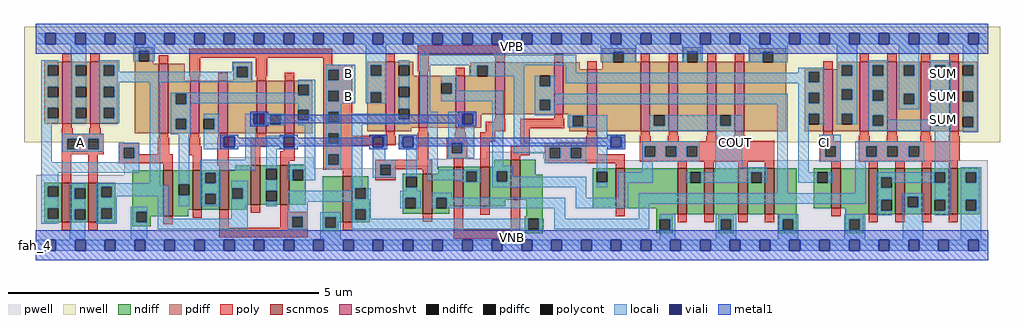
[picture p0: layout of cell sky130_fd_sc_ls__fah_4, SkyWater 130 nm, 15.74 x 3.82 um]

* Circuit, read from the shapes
.subckt sky130_fd_sc_ls__fah_4 A B CI VGND VNB VPB VPWR COUT SUM
XM1 VGND A n1 VNB sky130_fd_pr__nfet_01v8 w=0.64 l=0.15
XM2 n2 A VGND VNB sky130_fd_pr__nfet_01v8 w=0.64 l=0.15
XM3 n3 n1 VGND VNB sky130_fd_pr__nfet_01v8 w=0.74 l=0.15
XM4 n4 B n3 VNB sky130_fd_pr__nfet_01v8 w=0.64 l=0.15
XM5 n2 n5 n4 VNB sky130_fd_pr__nfet_01v8 w=0.64 l=0.15
XM6 n6 B n2 VNB sky130_fd_pr__nfet_01v8 w=0.64 l=0.15
XM7 n3 n5 n6 VNB sky130_fd_pr__nfet_01v8 w=0.64 l=0.15
XM8 n5 B VGND VNB sky130_fd_pr__nfet_01v8 w=0.74 l=0.15
XM9 n7 n6 n8 VNB sky130_fd_pr__nfet_01v8 w=0.64 l=0.15
XM10 n9 n4 n7 VNB sky130_fd_pr__nfet_01v8 w=0.64 l=0.15
XM11 n10 n6 n9 VNB sky130_fd_pr__nfet_01v8 w=0.64 l=0.15
XM12 n5 n4 n10 VNB sky130_fd_pr__nfet_01v8 w=0.64 l=0.15
XM13 VGND n9 n8 VNB sky130_fd_pr__nfet_01v8 w=0.64 l=0.15
XM14 COUT n10 VGND VNB sky130_fd_pr__nfet_01v8 w=0.74 l=0.15 m=4
XM15 VGND CI n9 VNB sky130_fd_pr__nfet_01v8 w=0.64 l=0.15
XM16 SUM n7 VGND VNB sky130_fd_pr__nfet_01v8 w=0.74 l=0.15 m=4
XM17 VPWR A n1 VPB sky130_fd_pr__pfet_01v8_hvt w=1 l=0.15
XM18 n2 A VPWR VPB sky130_fd_pr__pfet_01v8_hvt w=1 l=0.15
XM19 n3 n1 VPWR VPB sky130_fd_pr__pfet_01v8_hvt w=1.12 l=0.15
XM20 n6 B n3 VPB sky130_fd_pr__pfet_01v8_hvt w=0.84 l=0.15
XM21 n2 n5 n6 VPB sky130_fd_pr__pfet_01v8_hvt w=0.84 l=0.15
XM22 n4 B n2 VPB sky130_fd_pr__pfet_01v8_hvt w=0.84 l=0.15
XM23 n3 n5 n4 VPB sky130_fd_pr__pfet_01v8_hvt w=0.84 l=0.15
XM24 n5 B VPWR VPB sky130_fd_pr__pfet_01v8_hvt w=1.12 l=0.15
XM25 n10 n6 n5 VPB sky130_fd_pr__pfet_01v8_hvt w=0.84 l=0.15
XM26 n9 n4 n10 VPB sky130_fd_pr__pfet_01v8_hvt w=0.84 l=0.15
XM27 n7 n6 n9 VPB sky130_fd_pr__pfet_01v8_hvt w=0.84 l=0.15
XM28 n8 n4 n7 VPB sky130_fd_pr__pfet_01v8_hvt w=0.84 l=0.15
XM29 VPWR n9 n8 VPB sky130_fd_pr__pfet_01v8_hvt w=1 l=0.15
XM30 COUT n10 VPWR VPB sky130_fd_pr__pfet_01v8_hvt w=1.12 l=0.15 m=4
XM31 VPWR CI n9 VPB sky130_fd_pr__pfet_01v8_hvt w=1 l=0.15
XM32 SUM n7 VPWR VPB sky130_fd_pr__pfet_01v8_hvt w=1.12 l=0.15 m=4
.ends

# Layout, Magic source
magic
tech sky130A
magscale 1 2
<< nwell >>
rect -38 343 3110 704
rect -38 332 1411 343
rect 1680 332 3110 343
rect 283 326 1411 332
<< pwell >>
rect 618 268 897 284
rect 1453 279 1638 301
rect 285 248 897 268
rect 1272 275 1638 279
rect 1272 274 1881 275
rect 1272 256 3071 274
rect 1157 248 3071 256
rect 285 228 3071 248
rect 1 49 3071 228
rect 0 0 3072 49
<< scnmos >>
rect 84 74 114 202
rect 170 74 200 202
rect 411 94 441 242
rect 506 114 536 242
rect 592 114 622 242
rect 694 130 724 258
rect 788 130 818 258
rect 990 74 1020 222
rect 1248 102 1278 230
rect 1348 125 1378 253
rect 1434 125 1464 253
rect 1532 147 1562 275
rect 1870 120 1900 248
rect 2070 100 2100 248
rect 2156 100 2186 248
rect 2266 100 2296 248
rect 2352 100 2382 248
rect 2566 120 2596 248
rect 2686 100 2716 248
rect 2772 100 2802 248
rect 2858 100 2888 248
rect 2944 100 2974 248
<< scpmoshvt >>
rect 86 392 116 592
rect 176 392 206 592
rect 397 362 427 586
rect 498 362 528 530
rect 589 362 619 530
rect 713 362 743 530
rect 803 362 833 530
rect 1128 368 1158 592
rect 1235 379 1265 547
rect 1354 379 1384 547
rect 1482 423 1512 591
rect 1672 423 1702 591
rect 1779 368 1809 568
rect 1951 368 1981 592
rect 2041 368 2071 592
rect 2165 368 2195 592
rect 2255 368 2285 592
rect 2540 368 2570 568
rect 2657 368 2687 592
rect 2747 368 2777 592
rect 2855 368 2885 592
rect 2947 368 2977 592
<< ndiff >>
rect 644 242 694 258
rect 27 190 84 202
rect 27 156 39 190
rect 73 156 84 190
rect 27 120 84 156
rect 27 86 39 120
rect 73 86 84 120
rect 27 74 84 86
rect 114 184 170 202
rect 114 150 125 184
rect 159 150 170 184
rect 114 116 170 150
rect 114 82 125 116
rect 159 82 170 116
rect 114 74 170 82
rect 200 188 257 202
rect 200 154 211 188
rect 245 154 257 188
rect 200 120 257 154
rect 200 86 211 120
rect 245 86 257 120
rect 200 74 257 86
rect 311 108 411 242
rect 311 74 324 108
rect 358 94 411 108
rect 441 196 506 242
rect 441 162 461 196
rect 495 162 506 196
rect 441 114 506 162
rect 536 234 592 242
rect 536 200 547 234
rect 581 200 592 234
rect 536 166 592 200
rect 536 132 547 166
rect 581 132 592 166
rect 536 114 592 132
rect 622 184 694 242
rect 622 150 633 184
rect 667 150 694 184
rect 622 130 694 150
rect 724 246 788 258
rect 724 212 743 246
rect 777 212 788 246
rect 724 176 788 212
rect 724 142 743 176
rect 777 142 788 176
rect 724 130 788 142
rect 818 244 871 258
rect 818 210 829 244
rect 863 210 871 244
rect 1479 253 1532 275
rect 1298 230 1348 253
rect 818 130 871 210
rect 622 114 679 130
rect 441 94 491 114
rect 358 74 371 94
rect 311 62 371 74
rect 925 91 990 222
rect 925 57 933 91
rect 967 74 990 91
rect 1020 184 1073 222
rect 1183 221 1248 230
rect 1020 150 1031 184
rect 1065 150 1073 184
rect 1020 148 1073 150
rect 1183 187 1195 221
rect 1229 187 1248 221
rect 1183 153 1248 187
rect 1020 116 1077 148
rect 1020 82 1031 116
rect 1065 82 1077 116
rect 1183 119 1191 153
rect 1225 119 1248 153
rect 1183 102 1248 119
rect 1278 153 1348 230
rect 1278 119 1291 153
rect 1325 125 1348 153
rect 1378 239 1434 253
rect 1378 205 1389 239
rect 1423 205 1434 239
rect 1378 125 1434 205
rect 1464 239 1532 253
rect 1464 205 1487 239
rect 1521 205 1532 239
rect 1464 147 1532 205
rect 1562 228 1612 275
rect 1797 248 1855 249
rect 1797 237 1870 248
rect 1562 147 1635 228
rect 1464 125 1514 147
rect 1325 119 1333 125
rect 1278 102 1333 119
rect 1020 74 1077 82
rect 967 57 975 74
rect 925 45 975 57
rect 1582 93 1635 147
rect 1797 203 1809 237
rect 1843 203 1870 237
rect 1797 120 1870 203
rect 1900 120 2070 248
rect 2001 100 2070 120
rect 2100 236 2156 248
rect 2100 202 2111 236
rect 2145 202 2156 236
rect 2100 100 2156 202
rect 2186 100 2266 248
rect 2296 236 2352 248
rect 2296 202 2307 236
rect 2341 202 2352 236
rect 2296 100 2352 202
rect 2382 100 2455 248
rect 2509 236 2566 248
rect 2509 202 2521 236
rect 2555 202 2566 236
rect 2509 120 2566 202
rect 2596 120 2686 248
rect 1577 85 1635 93
rect 1577 51 1589 85
rect 1623 51 1635 85
rect 1577 39 1635 51
rect 2001 84 2055 100
rect 2001 50 2013 84
rect 2047 50 2055 84
rect 2201 84 2251 100
rect 2001 38 2055 50
rect 2201 50 2209 84
rect 2243 50 2251 84
rect 2397 84 2455 100
rect 2611 100 2686 120
rect 2716 220 2772 248
rect 2716 186 2727 220
rect 2761 186 2772 220
rect 2716 146 2772 186
rect 2716 112 2727 146
rect 2761 112 2772 146
rect 2716 100 2772 112
rect 2802 157 2858 248
rect 2802 123 2813 157
rect 2847 123 2858 157
rect 2802 100 2858 123
rect 2888 236 2944 248
rect 2888 202 2899 236
rect 2933 202 2944 236
rect 2888 146 2944 202
rect 2888 112 2899 146
rect 2933 112 2944 146
rect 2888 100 2944 112
rect 2974 236 3045 248
rect 2974 202 2999 236
rect 3033 202 3045 236
rect 2974 146 3045 202
rect 2974 112 2999 146
rect 3033 112 3045 146
rect 2974 100 3045 112
rect 2201 38 2251 50
rect 2397 50 2409 84
rect 2443 50 2455 84
rect 2397 38 2455 50
rect 2611 84 2671 100
rect 2611 50 2624 84
rect 2658 50 2671 84
rect 2611 38 2671 50
<< pdiff >>
rect 319 628 379 639
rect 319 594 332 628
rect 366 594 379 628
rect 27 580 86 592
rect 27 546 39 580
rect 73 546 86 580
rect 27 512 86 546
rect 27 478 39 512
rect 73 478 86 512
rect 27 444 86 478
rect 27 410 39 444
rect 73 410 86 444
rect 27 392 86 410
rect 116 580 176 592
rect 116 546 129 580
rect 163 546 176 580
rect 116 512 176 546
rect 116 478 129 512
rect 163 478 176 512
rect 116 444 176 478
rect 116 410 129 444
rect 163 410 176 444
rect 116 392 176 410
rect 206 580 265 592
rect 206 546 219 580
rect 253 546 265 580
rect 206 512 265 546
rect 206 478 219 512
rect 253 478 265 512
rect 206 444 265 478
rect 206 410 219 444
rect 253 410 265 444
rect 206 392 265 410
rect 319 586 379 594
rect 319 362 397 586
rect 427 530 480 586
rect 637 576 695 588
rect 637 542 649 576
rect 683 542 695 576
rect 1827 624 1933 636
rect 637 530 695 542
rect 427 488 498 530
rect 427 454 451 488
rect 485 454 498 488
rect 427 408 498 454
rect 427 374 451 408
rect 485 374 498 408
rect 427 362 498 374
rect 528 408 589 530
rect 528 374 541 408
rect 575 374 589 408
rect 528 362 589 374
rect 619 362 713 530
rect 743 422 803 530
rect 743 388 756 422
rect 790 388 803 422
rect 743 362 803 388
rect 833 518 892 530
rect 833 484 846 518
rect 880 484 892 518
rect 833 437 892 484
rect 833 403 846 437
rect 880 403 892 437
rect 833 362 892 403
rect 1069 580 1128 592
rect 1069 546 1081 580
rect 1115 546 1128 580
rect 1069 494 1128 546
rect 1069 460 1081 494
rect 1115 460 1128 494
rect 1069 368 1128 460
rect 1158 580 1217 592
rect 1158 546 1171 580
rect 1205 547 1217 580
rect 1402 579 1482 591
rect 1402 547 1424 579
rect 1205 546 1235 547
rect 1158 512 1235 546
rect 1158 478 1171 512
rect 1205 478 1235 512
rect 1158 440 1235 478
rect 1158 406 1171 440
rect 1205 406 1235 440
rect 1158 379 1235 406
rect 1265 522 1354 547
rect 1265 488 1307 522
rect 1341 488 1354 522
rect 1265 379 1354 488
rect 1384 545 1424 547
rect 1458 545 1482 579
rect 1384 423 1482 545
rect 1512 547 1672 591
rect 1512 513 1625 547
rect 1659 513 1672 547
rect 1512 469 1672 513
rect 1512 435 1625 469
rect 1659 435 1672 469
rect 1512 423 1672 435
rect 1702 568 1755 591
rect 1827 590 1863 624
rect 1897 592 1933 624
rect 2089 625 2147 639
rect 2089 592 2101 625
rect 1897 590 1951 592
rect 1827 568 1951 590
rect 1702 423 1779 568
rect 1384 379 1437 423
rect 1720 417 1779 423
rect 1158 368 1211 379
rect 1720 383 1732 417
rect 1766 383 1779 417
rect 1720 368 1779 383
rect 1809 368 1951 568
rect 1981 420 2041 592
rect 1981 386 1994 420
rect 2028 386 2041 420
rect 1981 368 2041 386
rect 2071 591 2101 592
rect 2135 592 2147 625
rect 2303 624 2421 636
rect 2303 592 2345 624
rect 2135 591 2165 592
rect 2071 368 2165 591
rect 2195 420 2255 592
rect 2195 386 2208 420
rect 2242 386 2255 420
rect 2195 368 2255 386
rect 2285 590 2345 592
rect 2379 590 2421 624
rect 2285 368 2421 590
rect 2588 580 2657 592
rect 2588 568 2600 580
rect 2481 560 2540 568
rect 2481 526 2493 560
rect 2527 526 2540 560
rect 2481 492 2540 526
rect 2481 458 2493 492
rect 2527 458 2540 492
rect 2481 424 2540 458
rect 2481 390 2493 424
rect 2527 390 2540 424
rect 2481 368 2540 390
rect 2570 546 2600 568
rect 2634 546 2657 580
rect 2570 503 2657 546
rect 2570 469 2600 503
rect 2634 469 2657 503
rect 2570 424 2657 469
rect 2570 390 2600 424
rect 2634 390 2657 424
rect 2570 368 2657 390
rect 2687 580 2747 592
rect 2687 546 2700 580
rect 2734 546 2747 580
rect 2687 500 2747 546
rect 2687 466 2700 500
rect 2734 466 2747 500
rect 2687 420 2747 466
rect 2687 386 2700 420
rect 2734 386 2747 420
rect 2687 368 2747 386
rect 2777 580 2855 592
rect 2777 546 2800 580
rect 2834 546 2855 580
rect 2777 488 2855 546
rect 2777 454 2800 488
rect 2834 454 2855 488
rect 2777 368 2855 454
rect 2885 580 2947 592
rect 2885 546 2900 580
rect 2934 546 2947 580
rect 2885 500 2947 546
rect 2885 466 2900 500
rect 2934 466 2947 500
rect 2885 420 2947 466
rect 2885 386 2900 420
rect 2934 386 2947 420
rect 2885 368 2947 386
rect 2977 580 3036 592
rect 2977 546 2990 580
rect 3024 546 3036 580
rect 2977 497 3036 546
rect 2977 463 2990 497
rect 3024 463 3036 497
rect 2977 414 3036 463
rect 2977 380 2990 414
rect 3024 380 3036 414
rect 2977 368 3036 380
<< ndiffc >>
rect 39 156 73 190
rect 39 86 73 120
rect 125 150 159 184
rect 125 82 159 116
rect 211 154 245 188
rect 211 86 245 120
rect 324 74 358 108
rect 461 162 495 196
rect 547 200 581 234
rect 547 132 581 166
rect 633 150 667 184
rect 743 212 777 246
rect 743 142 777 176
rect 829 210 863 244
rect 933 57 967 91
rect 1031 150 1065 184
rect 1195 187 1229 221
rect 1031 82 1065 116
rect 1191 119 1225 153
rect 1291 119 1325 153
rect 1389 205 1423 239
rect 1487 205 1521 239
rect 1809 203 1843 237
rect 2111 202 2145 236
rect 2307 202 2341 236
rect 2521 202 2555 236
rect 1589 51 1623 85
rect 2013 50 2047 84
rect 2209 50 2243 84
rect 2727 186 2761 220
rect 2727 112 2761 146
rect 2813 123 2847 157
rect 2899 202 2933 236
rect 2899 112 2933 146
rect 2999 202 3033 236
rect 2999 112 3033 146
rect 2409 50 2443 84
rect 2624 50 2658 84
<< pdiffc >>
rect 332 594 366 628
rect 39 546 73 580
rect 39 478 73 512
rect 39 410 73 444
rect 129 546 163 580
rect 129 478 163 512
rect 129 410 163 444
rect 219 546 253 580
rect 219 478 253 512
rect 219 410 253 444
rect 649 542 683 576
rect 451 454 485 488
rect 451 374 485 408
rect 541 374 575 408
rect 756 388 790 422
rect 846 484 880 518
rect 846 403 880 437
rect 1081 546 1115 580
rect 1081 460 1115 494
rect 1171 546 1205 580
rect 1171 478 1205 512
rect 1171 406 1205 440
rect 1307 488 1341 522
rect 1424 545 1458 579
rect 1625 513 1659 547
rect 1625 435 1659 469
rect 1863 590 1897 624
rect 1732 383 1766 417
rect 1994 386 2028 420
rect 2101 591 2135 625
rect 2208 386 2242 420
rect 2345 590 2379 624
rect 2493 526 2527 560
rect 2493 458 2527 492
rect 2493 390 2527 424
rect 2600 546 2634 580
rect 2600 469 2634 503
rect 2600 390 2634 424
rect 2700 546 2734 580
rect 2700 466 2734 500
rect 2700 386 2734 420
rect 2800 546 2834 580
rect 2800 454 2834 488
rect 2900 546 2934 580
rect 2900 466 2934 500
rect 2900 386 2934 420
rect 2990 546 3024 580
rect 2990 463 3024 497
rect 2990 380 3024 414
<< poly >>
rect 86 592 116 618
rect 176 592 206 618
rect 397 586 427 612
rect 495 604 957 634
rect 86 377 116 392
rect 176 377 206 392
rect 83 360 119 377
rect 173 360 209 377
rect 495 545 531 604
rect 498 530 528 545
rect 589 530 619 556
rect 710 545 746 604
rect 927 582 957 604
rect 1128 592 1158 618
rect 1232 615 1515 645
rect 927 566 1020 582
rect 713 530 743 545
rect 803 530 833 556
rect 927 532 943 566
rect 977 532 1020 566
rect 927 498 1020 532
rect 927 464 943 498
rect 977 464 1020 498
rect 927 430 1020 464
rect 927 396 943 430
rect 977 396 1020 430
rect 927 362 1020 396
rect 1232 562 1268 615
rect 1479 606 1515 615
rect 1482 591 1512 606
rect 1672 591 1702 617
rect 1235 547 1265 562
rect 1354 547 1384 573
rect 1779 568 1809 594
rect 1951 592 1981 618
rect 2041 592 2071 618
rect 1482 408 1512 423
rect 1672 408 1702 423
rect 1479 398 1515 408
rect 83 344 219 360
rect 397 347 427 362
rect 498 347 528 362
rect 589 347 619 362
rect 713 347 743 362
rect 803 347 833 362
rect 83 324 101 344
rect 84 310 101 324
rect 135 310 169 344
rect 203 310 219 344
rect 84 294 219 310
rect 267 314 333 330
rect 84 202 114 294
rect 170 202 200 294
rect 267 280 283 314
rect 317 294 333 314
rect 394 294 430 347
rect 495 320 531 347
rect 317 280 441 294
rect 495 290 536 320
rect 267 264 441 280
rect 411 242 441 264
rect 506 242 536 290
rect 586 257 622 347
rect 694 317 746 347
rect 694 258 724 317
rect 800 303 836 347
rect 788 273 836 303
rect 927 328 943 362
rect 977 353 1020 362
rect 1128 353 1158 368
rect 1235 364 1265 379
rect 1354 364 1384 379
rect 1452 368 1515 398
rect 1563 378 1705 408
rect 1452 364 1482 368
rect 977 328 1161 353
rect 927 323 1161 328
rect 927 294 1020 323
rect 788 258 818 273
rect 927 260 943 294
rect 977 260 1020 294
rect 1232 275 1268 364
rect 1351 347 1387 364
rect 1326 331 1392 347
rect 1326 297 1342 331
rect 1376 297 1392 331
rect 1326 281 1392 297
rect 1434 334 1482 364
rect 592 242 622 257
rect 927 244 1020 260
rect 990 222 1020 244
rect 1095 259 1278 275
rect 1095 225 1111 259
rect 1145 245 1278 259
rect 1348 253 1378 281
rect 1434 253 1464 334
rect 1563 320 1593 378
rect 2165 592 2195 618
rect 2255 592 2285 618
rect 2540 568 2570 594
rect 2657 592 2687 618
rect 2747 592 2777 618
rect 2855 592 2885 618
rect 2947 592 2977 618
rect 1779 353 1809 368
rect 1951 353 1981 368
rect 2041 353 2071 368
rect 2165 353 2195 368
rect 2255 353 2285 368
rect 2540 353 2570 368
rect 2657 353 2687 368
rect 2747 353 2777 368
rect 2855 353 2885 368
rect 2947 353 2977 368
rect 1776 330 1812 353
rect 1532 290 1593 320
rect 1641 314 1812 330
rect 1532 275 1562 290
rect 1641 280 1657 314
rect 1691 280 1725 314
rect 1759 294 1812 314
rect 1948 336 1984 353
rect 2038 336 2074 353
rect 2162 336 2198 353
rect 2252 337 2288 353
rect 2252 336 2382 337
rect 2537 336 2573 353
rect 2654 336 2690 353
rect 2744 336 2780 353
rect 2852 336 2888 353
rect 2944 336 2980 353
rect 1948 320 2382 336
rect 1759 280 1900 294
rect 1145 225 1161 245
rect 1248 230 1278 245
rect 84 48 114 74
rect 170 48 200 74
rect 411 68 441 94
rect 506 88 536 114
rect 592 56 622 114
rect 694 104 724 130
rect 788 108 818 130
rect 788 92 877 108
rect 788 58 827 92
rect 861 58 877 92
rect 788 56 877 58
rect 592 26 877 56
rect 1095 209 1161 225
rect 1641 264 1900 280
rect 1948 286 1964 320
rect 1998 286 2032 320
rect 2066 286 2100 320
rect 2134 286 2382 320
rect 1948 270 2382 286
rect 2530 320 2596 336
rect 2530 286 2546 320
rect 2580 286 2596 320
rect 2530 270 2596 286
rect 2654 320 2980 336
rect 2654 286 2679 320
rect 2713 286 2747 320
rect 2781 286 2815 320
rect 2849 286 2980 320
rect 2654 274 2980 286
rect 2654 270 2974 274
rect 1870 248 1900 264
rect 2070 248 2100 270
rect 2156 248 2186 270
rect 2266 248 2296 270
rect 2352 248 2382 270
rect 2566 248 2596 270
rect 2686 248 2716 270
rect 2772 248 2802 270
rect 2858 248 2888 270
rect 2944 248 2974 270
rect 1248 76 1278 102
rect 990 48 1020 74
rect 1348 51 1378 125
rect 1434 99 1464 125
rect 1532 51 1562 147
rect 1870 94 1900 120
rect 1348 21 1562 51
rect 2070 74 2100 100
rect 2156 74 2186 100
rect 2266 74 2296 100
rect 2352 74 2382 100
rect 2566 94 2596 120
rect 2686 74 2716 100
rect 2772 74 2802 100
rect 2858 74 2888 100
rect 2944 74 2974 100
<< polycont >>
rect 943 532 977 566
rect 943 464 977 498
rect 943 396 977 430
rect 101 310 135 344
rect 169 310 203 344
rect 283 280 317 314
rect 943 328 977 362
rect 943 260 977 294
rect 1342 297 1376 331
rect 1111 225 1145 259
rect 1657 280 1691 314
rect 1725 280 1759 314
rect 827 58 861 92
rect 1964 286 1998 320
rect 2032 286 2066 320
rect 2100 286 2134 320
rect 2546 286 2580 320
rect 2679 286 2713 320
rect 2747 286 2781 320
rect 2815 286 2849 320
<< locali >>
rect 0 649 31 683
rect 65 649 127 683
rect 161 649 223 683
rect 257 649 319 683
rect 353 649 415 683
rect 449 649 511 683
rect 545 649 607 683
rect 641 649 703 683
rect 737 649 799 683
rect 833 649 895 683
rect 929 649 991 683
rect 1025 649 1087 683
rect 1121 649 1183 683
rect 1217 649 1279 683
rect 1313 649 1375 683
rect 1409 649 1471 683
rect 1505 649 1567 683
rect 1601 649 1663 683
rect 1697 649 1759 683
rect 1793 649 1855 683
rect 1889 649 1951 683
rect 1985 649 2047 683
rect 2081 649 2143 683
rect 2177 649 2239 683
rect 2273 649 2335 683
rect 2369 649 2431 683
rect 2465 649 2527 683
rect 2561 649 2623 683
rect 2657 649 2719 683
rect 2753 649 2815 683
rect 2849 649 2911 683
rect 2945 649 3007 683
rect 3041 649 3072 683
rect 17 580 73 596
rect 17 546 39 580
rect 17 512 73 546
rect 17 478 39 512
rect 17 444 73 478
rect 17 410 39 444
rect 17 394 73 410
rect 113 580 163 649
rect 315 628 383 649
rect 113 546 129 580
rect 113 512 163 546
rect 113 478 129 512
rect 113 444 163 478
rect 113 410 129 444
rect 113 394 163 410
rect 203 580 269 596
rect 315 594 332 628
rect 366 594 383 628
rect 203 546 219 580
rect 253 560 269 580
rect 633 576 699 592
rect 633 560 649 576
rect 253 546 649 560
rect 203 542 649 546
rect 683 542 699 576
rect 203 526 699 542
rect 935 566 1031 582
rect 203 512 269 526
rect 203 478 219 512
rect 253 478 269 512
rect 203 444 269 478
rect 203 410 219 444
rect 253 410 269 444
rect 203 394 269 410
rect 17 268 51 394
rect 85 344 219 360
rect 85 310 101 344
rect 135 310 169 344
rect 203 310 219 344
rect 85 302 219 310
rect 267 314 333 330
rect 267 280 283 314
rect 317 280 333 314
rect 267 268 333 280
rect 17 234 333 268
rect 17 190 73 234
rect 367 200 401 526
rect 846 518 901 534
rect 435 488 846 492
rect 435 454 451 488
rect 485 484 846 488
rect 880 484 901 518
rect 485 458 901 484
rect 485 454 501 458
rect 435 408 501 454
rect 846 437 901 458
rect 435 374 451 408
rect 485 374 501 408
rect 435 358 501 374
rect 541 408 592 424
rect 575 374 592 408
rect 17 156 39 190
rect 17 120 73 156
rect 17 86 39 120
rect 17 70 73 86
rect 109 184 159 200
rect 109 150 125 184
rect 109 116 159 150
rect 109 82 125 116
rect 109 17 159 82
rect 195 192 401 200
rect 461 196 495 358
rect 541 356 592 374
rect 675 390 703 424
rect 737 422 806 424
rect 737 390 756 422
rect 675 388 756 390
rect 790 388 806 422
rect 675 387 806 388
rect 880 403 901 437
rect 846 387 901 403
rect 541 350 641 356
rect 541 316 607 350
rect 541 310 641 316
rect 675 276 709 387
rect 195 188 427 192
rect 195 154 211 188
rect 245 158 427 188
rect 245 154 261 158
rect 195 120 261 154
rect 195 86 211 120
rect 245 86 261 120
rect 195 70 261 86
rect 307 108 359 124
rect 307 74 324 108
rect 358 74 359 108
rect 307 17 359 74
rect 393 85 427 158
rect 461 125 495 162
rect 531 242 709 276
rect 743 350 833 353
rect 743 316 799 350
rect 743 310 833 316
rect 743 246 777 310
rect 867 262 901 387
rect 531 234 597 242
rect 531 200 547 234
rect 581 200 597 234
rect 531 166 597 200
rect 531 132 547 166
rect 581 132 597 166
rect 531 125 597 132
rect 631 184 683 208
rect 631 150 633 184
rect 667 150 683 184
rect 631 85 683 150
rect 743 176 777 212
rect 813 244 901 262
rect 935 532 943 566
rect 977 532 1031 566
rect 935 498 1031 532
rect 935 464 943 498
rect 977 464 1031 498
rect 935 458 1031 464
rect 1065 580 1131 649
rect 1823 624 1937 649
rect 1065 546 1081 580
rect 1115 546 1131 580
rect 1065 494 1131 546
rect 1065 460 1081 494
rect 1115 460 1131 494
rect 1065 458 1131 460
rect 1171 580 1205 596
rect 1171 512 1205 546
rect 935 430 985 458
rect 935 396 943 430
rect 977 396 985 430
rect 1171 440 1205 478
rect 935 362 985 396
rect 935 328 943 362
rect 977 328 985 362
rect 935 294 985 328
rect 935 260 943 294
rect 977 260 985 294
rect 935 244 985 260
rect 1019 406 1171 424
rect 1019 390 1205 406
rect 1239 581 1743 615
rect 1823 590 1863 624
rect 1897 590 1937 624
rect 2085 625 2151 649
rect 2085 591 2101 625
rect 2135 591 2151 625
rect 2085 590 2151 591
rect 2299 624 2425 649
rect 2299 590 2345 624
rect 2379 590 2425 624
rect 1239 430 1273 581
rect 1398 579 1575 581
rect 1307 522 1357 547
rect 1398 545 1424 579
rect 1458 545 1575 579
rect 1709 556 1743 581
rect 2584 580 2650 649
rect 2459 560 2543 572
rect 2459 556 2493 560
rect 1341 498 1357 522
rect 1341 488 1507 498
rect 1307 464 1507 488
rect 1239 396 1297 430
rect 813 210 829 244
rect 863 210 901 244
rect 813 209 901 210
rect 1019 184 1053 390
rect 1087 350 1127 356
rect 1121 316 1127 350
rect 1087 275 1127 316
rect 1177 350 1229 356
rect 1177 316 1183 350
rect 1217 316 1229 350
rect 1177 310 1229 316
rect 1087 259 1161 275
rect 1087 225 1111 259
rect 1145 225 1161 259
rect 1087 218 1161 225
rect 1195 221 1229 310
rect 1263 243 1297 396
rect 1331 424 1415 430
rect 1331 390 1375 424
rect 1409 390 1415 424
rect 1331 331 1415 390
rect 1331 297 1342 331
rect 1376 297 1415 331
rect 1331 281 1415 297
rect 1473 257 1507 464
rect 1541 330 1575 545
rect 1609 513 1625 547
rect 1659 513 1675 547
rect 1709 526 2493 556
rect 2527 526 2543 560
rect 1709 522 2543 526
rect 1609 488 1675 513
rect 2459 492 2543 522
rect 1609 469 2425 488
rect 1609 435 1625 469
rect 1659 454 2425 469
rect 1659 435 1675 454
rect 1609 419 1675 435
rect 1716 417 1843 420
rect 1716 383 1732 417
rect 1766 383 1843 417
rect 1716 380 1843 383
rect 1809 355 1843 380
rect 1978 386 1994 420
rect 2028 386 2208 420
rect 2242 386 2279 420
rect 1978 370 2279 386
rect 1809 350 1895 355
rect 1541 314 1775 330
rect 1541 296 1657 314
rect 1641 280 1657 296
rect 1691 280 1725 314
rect 1759 280 1775 314
rect 1641 264 1775 280
rect 1809 316 1855 350
rect 1889 316 1895 350
rect 1809 310 1895 316
rect 1956 320 2142 336
rect 1263 239 1439 243
rect 1263 209 1389 239
rect 1373 205 1389 209
rect 1423 205 1439 239
rect 1373 203 1439 205
rect 1473 239 1537 257
rect 1473 205 1487 239
rect 1521 221 1537 239
rect 1809 237 1843 310
rect 1521 205 1775 221
rect 1473 187 1775 205
rect 1956 286 1964 320
rect 1998 286 2032 320
rect 2066 286 2100 320
rect 2134 286 2142 320
rect 1956 270 2142 286
rect 1956 236 1990 270
rect 2192 252 2279 370
rect 2192 236 2357 252
rect 1809 187 1843 203
rect 1877 202 1990 236
rect 2095 202 2111 236
rect 2145 202 2307 236
rect 2341 202 2357 236
rect 1019 175 1031 184
rect 743 126 777 142
rect 811 150 1031 175
rect 1065 150 1081 184
rect 1195 175 1229 187
rect 811 141 1081 150
rect 393 51 683 85
rect 811 92 877 141
rect 1019 116 1081 141
rect 1175 153 1241 175
rect 1175 119 1191 153
rect 1225 119 1241 153
rect 1275 153 1341 169
rect 1741 153 1775 187
rect 1877 153 1911 202
rect 2391 168 2425 454
rect 2459 458 2493 492
rect 2527 458 2543 492
rect 2459 424 2543 458
rect 2459 236 2493 424
rect 2527 390 2543 424
rect 2584 546 2600 580
rect 2634 546 2650 580
rect 2584 503 2650 546
rect 2584 469 2600 503
rect 2634 469 2650 503
rect 2584 424 2650 469
rect 2584 390 2600 424
rect 2634 390 2650 424
rect 2684 580 2750 596
rect 2684 546 2700 580
rect 2734 546 2750 580
rect 2684 500 2750 546
rect 2684 466 2700 500
rect 2734 466 2750 500
rect 2684 420 2750 466
rect 2784 580 2850 649
rect 2784 546 2800 580
rect 2834 546 2850 580
rect 2784 488 2850 546
rect 2784 454 2800 488
rect 2834 454 2850 488
rect 2784 438 2850 454
rect 2884 580 2951 596
rect 2884 546 2900 580
rect 2934 546 2951 580
rect 2884 500 2951 546
rect 2884 466 2900 500
rect 2934 466 2951 500
rect 2684 386 2700 420
rect 2734 404 2750 420
rect 2884 420 2951 466
rect 2884 404 2900 420
rect 2734 386 2900 404
rect 2934 386 2951 420
rect 2684 370 2951 386
rect 2990 580 3040 649
rect 3024 546 3040 580
rect 2990 497 3040 546
rect 3024 463 3040 497
rect 2990 414 3040 463
rect 3024 380 3040 414
rect 2527 320 2596 356
rect 2527 286 2546 320
rect 2580 286 2596 320
rect 2527 270 2596 286
rect 2643 320 2865 336
rect 2643 286 2679 320
rect 2713 286 2747 320
rect 2781 286 2815 320
rect 2849 286 2865 320
rect 2643 270 2865 286
rect 2459 202 2521 236
rect 2555 202 2571 236
rect 2643 168 2677 270
rect 2899 236 2949 370
rect 2990 364 3040 380
rect 1275 119 1291 153
rect 1325 119 1707 153
rect 1741 119 1911 153
rect 1945 134 2677 168
rect 2711 220 2899 236
rect 2711 186 2727 220
rect 2761 202 2899 220
rect 2933 202 2949 236
rect 2711 146 2761 186
rect 811 58 827 92
rect 861 58 877 92
rect 811 51 877 58
rect 917 91 983 107
rect 917 57 933 91
rect 967 57 983 91
rect 917 17 983 57
rect 1019 82 1031 116
rect 1065 85 1081 116
rect 1673 85 1707 119
rect 1945 85 1979 134
rect 2711 112 2727 146
rect 1065 82 1589 85
rect 1019 51 1589 82
rect 1623 51 1639 85
rect 1673 51 1979 85
rect 2013 84 2063 100
rect 2047 50 2063 84
rect 2013 17 2063 50
rect 2193 84 2259 100
rect 2193 50 2209 84
rect 2243 50 2259 84
rect 2193 17 2259 50
rect 2393 84 2459 100
rect 2393 50 2409 84
rect 2443 50 2459 84
rect 2393 17 2459 50
rect 2607 84 2675 100
rect 2711 96 2761 112
rect 2797 157 2863 168
rect 2797 123 2813 157
rect 2847 123 2863 157
rect 2607 50 2624 84
rect 2658 50 2675 84
rect 2607 17 2675 50
rect 2797 17 2863 123
rect 2899 146 2949 202
rect 2933 112 2949 146
rect 2899 96 2949 112
rect 2983 236 3049 252
rect 2983 202 2999 236
rect 3033 202 3049 236
rect 2983 146 3049 202
rect 2983 112 2999 146
rect 3033 112 3049 146
rect 2983 17 3049 112
rect 0 -17 31 17
rect 65 -17 127 17
rect 161 -17 223 17
rect 257 -17 319 17
rect 353 -17 415 17
rect 449 -17 511 17
rect 545 -17 607 17
rect 641 -17 703 17
rect 737 -17 799 17
rect 833 -17 895 17
rect 929 -17 991 17
rect 1025 -17 1087 17
rect 1121 -17 1183 17
rect 1217 -17 1279 17
rect 1313 -17 1375 17
rect 1409 -17 1471 17
rect 1505 -17 1567 17
rect 1601 -17 1663 17
rect 1697 -17 1759 17
rect 1793 -17 1855 17
rect 1889 -17 1951 17
rect 1985 -17 2047 17
rect 2081 -17 2143 17
rect 2177 -17 2239 17
rect 2273 -17 2335 17
rect 2369 -17 2431 17
rect 2465 -17 2527 17
rect 2561 -17 2623 17
rect 2657 -17 2719 17
rect 2753 -17 2815 17
rect 2849 -17 2911 17
rect 2945 -17 3007 17
rect 3041 -17 3072 17
<< viali >>
rect 31 649 65 683
rect 127 649 161 683
rect 223 649 257 683
rect 319 649 353 683
rect 415 649 449 683
rect 511 649 545 683
rect 607 649 641 683
rect 703 649 737 683
rect 799 649 833 683
rect 895 649 929 683
rect 991 649 1025 683
rect 1087 649 1121 683
rect 1183 649 1217 683
rect 1279 649 1313 683
rect 1375 649 1409 683
rect 1471 649 1505 683
rect 1567 649 1601 683
rect 1663 649 1697 683
rect 1759 649 1793 683
rect 1855 649 1889 683
rect 1951 649 1985 683
rect 2047 649 2081 683
rect 2143 649 2177 683
rect 2239 649 2273 683
rect 2335 649 2369 683
rect 2431 649 2465 683
rect 2527 649 2561 683
rect 2623 649 2657 683
rect 2719 649 2753 683
rect 2815 649 2849 683
rect 2911 649 2945 683
rect 3007 649 3041 683
rect 703 390 737 424
rect 607 316 641 350
rect 799 316 833 350
rect 1087 316 1121 350
rect 1183 316 1217 350
rect 1375 390 1409 424
rect 1855 316 1889 350
rect 31 -17 65 17
rect 127 -17 161 17
rect 223 -17 257 17
rect 319 -17 353 17
rect 415 -17 449 17
rect 511 -17 545 17
rect 607 -17 641 17
rect 703 -17 737 17
rect 799 -17 833 17
rect 895 -17 929 17
rect 991 -17 1025 17
rect 1087 -17 1121 17
rect 1183 -17 1217 17
rect 1279 -17 1313 17
rect 1375 -17 1409 17
rect 1471 -17 1505 17
rect 1567 -17 1601 17
rect 1663 -17 1697 17
rect 1759 -17 1793 17
rect 1855 -17 1889 17
rect 1951 -17 1985 17
rect 2047 -17 2081 17
rect 2143 -17 2177 17
rect 2239 -17 2273 17
rect 2335 -17 2369 17
rect 2431 -17 2465 17
rect 2527 -17 2561 17
rect 2623 -17 2657 17
rect 2719 -17 2753 17
rect 2815 -17 2849 17
rect 2911 -17 2945 17
rect 3007 -17 3041 17
<< metal1 >>
rect 0 683 3072 715
rect 0 649 31 683
rect 65 649 127 683
rect 161 649 223 683
rect 257 649 319 683
rect 353 649 415 683
rect 449 649 511 683
rect 545 649 607 683
rect 641 649 703 683
rect 737 649 799 683
rect 833 649 895 683
rect 929 649 991 683
rect 1025 649 1087 683
rect 1121 649 1183 683
rect 1217 649 1279 683
rect 1313 649 1375 683
rect 1409 649 1471 683
rect 1505 649 1567 683
rect 1601 649 1663 683
rect 1697 649 1759 683
rect 1793 649 1855 683
rect 1889 649 1951 683
rect 1985 649 2047 683
rect 2081 649 2143 683
rect 2177 649 2239 683
rect 2273 649 2335 683
rect 2369 649 2431 683
rect 2465 649 2527 683
rect 2561 649 2623 683
rect 2657 649 2719 683
rect 2753 649 2815 683
rect 2849 649 2911 683
rect 2945 649 3007 683
rect 3041 649 3072 683
rect 0 617 3072 649
rect 691 424 749 430
rect 691 390 703 424
rect 737 421 749 424
rect 1363 424 1421 430
rect 1363 421 1375 424
rect 737 393 1375 421
rect 737 390 749 393
rect 691 384 749 390
rect 1363 390 1375 393
rect 1409 390 1421 424
rect 1363 384 1421 390
rect 595 350 653 356
rect 595 316 607 350
rect 641 347 653 350
rect 787 350 845 356
rect 787 347 799 350
rect 641 319 799 347
rect 641 316 653 319
rect 595 310 653 316
rect 787 316 799 319
rect 833 347 845 350
rect 1075 350 1133 356
rect 1075 347 1087 350
rect 833 319 1087 347
rect 833 316 845 319
rect 787 310 845 316
rect 1075 316 1087 319
rect 1121 316 1133 350
rect 1075 310 1133 316
rect 1171 350 1229 356
rect 1171 316 1183 350
rect 1217 347 1229 350
rect 1843 350 1901 356
rect 1843 347 1855 350
rect 1217 319 1855 347
rect 1217 316 1229 319
rect 1171 310 1229 316
rect 1843 316 1855 319
rect 1889 316 1901 350
rect 1843 310 1901 316
rect 0 17 3072 49
rect 0 -17 31 17
rect 65 -17 127 17
rect 161 -17 223 17
rect 257 -17 319 17
rect 353 -17 415 17
rect 449 -17 511 17
rect 545 -17 607 17
rect 641 -17 703 17
rect 737 -17 799 17
rect 833 -17 895 17
rect 929 -17 991 17
rect 1025 -17 1087 17
rect 1121 -17 1183 17
rect 1217 -17 1279 17
rect 1313 -17 1375 17
rect 1409 -17 1471 17
rect 1505 -17 1567 17
rect 1601 -17 1663 17
rect 1697 -17 1759 17
rect 1793 -17 1855 17
rect 1889 -17 1951 17
rect 1985 -17 2047 17
rect 2081 -17 2143 17
rect 2177 -17 2239 17
rect 2273 -17 2335 17
rect 2369 -17 2431 17
rect 2465 -17 2527 17
rect 2561 -17 2623 17
rect 2657 -17 2719 17
rect 2753 -17 2815 17
rect 2849 -17 2911 17
rect 2945 -17 3007 17
rect 3041 -17 3072 17
rect 0 -49 3072 -17
<< labels >>
rlabel comment s 0 0 0 0 4 fah_4
flabel pwell s 0 0 3072 49 0 FreeSans 200 0 0 0 VNB
port 5 nsew ground bidirectional
flabel nwell s 0 617 3072 666 0 FreeSans 200 0 0 0 VPB
port 6 nsew power bidirectional
flabel metal1 s 0 617 3072 666 0 FreeSans 340 0 0 0 VPWR
port 7 nsew power bidirectional abutment
flabel metal1 s 0 0 3072 49 0 FreeSans 340 0 0 0 VGND
port 4 nsew ground bidirectional abutment
flabel locali s 2911 390 2945 424 0 FreeSans 340 0 0 0 SUM
port 9 nsew signal output
flabel locali s 2911 464 2945 498 0 FreeSans 340 0 0 0 SUM
port 9 nsew signal output
flabel locali s 2911 538 2945 572 0 FreeSans 340 0 0 0 SUM
port 9 nsew signal output
flabel locali s 2239 316 2273 350 0 FreeSans 340 0 0 0 COUT
port 8 nsew signal output
flabel locali s 991 464 1025 498 0 FreeSans 340 0 0 0 B
port 2 nsew signal input
flabel locali s 991 538 1025 572 0 FreeSans 340 0 0 0 B
port 2 nsew signal input
flabel locali s 127 316 161 350 0 FreeSans 340 0 0 0 A
port 1 nsew signal input
flabel locali s 2527 316 2561 350 0 FreeSans 340 0 0 0 CI
port 3 nsew signal input
<< properties >>
string LEFsite unit
string LEFclass CORE
string FIXED_BBOX 0 0 3072 666
string GDS_FILE $PDKPATH/libs.ref/sky130_fd_sc_ls/gds/sky130_fd_sc_ls.gds
string LEFsymmetry X Y
string GDS_END 3403038
string GDS_START 3380906
<< end >>
